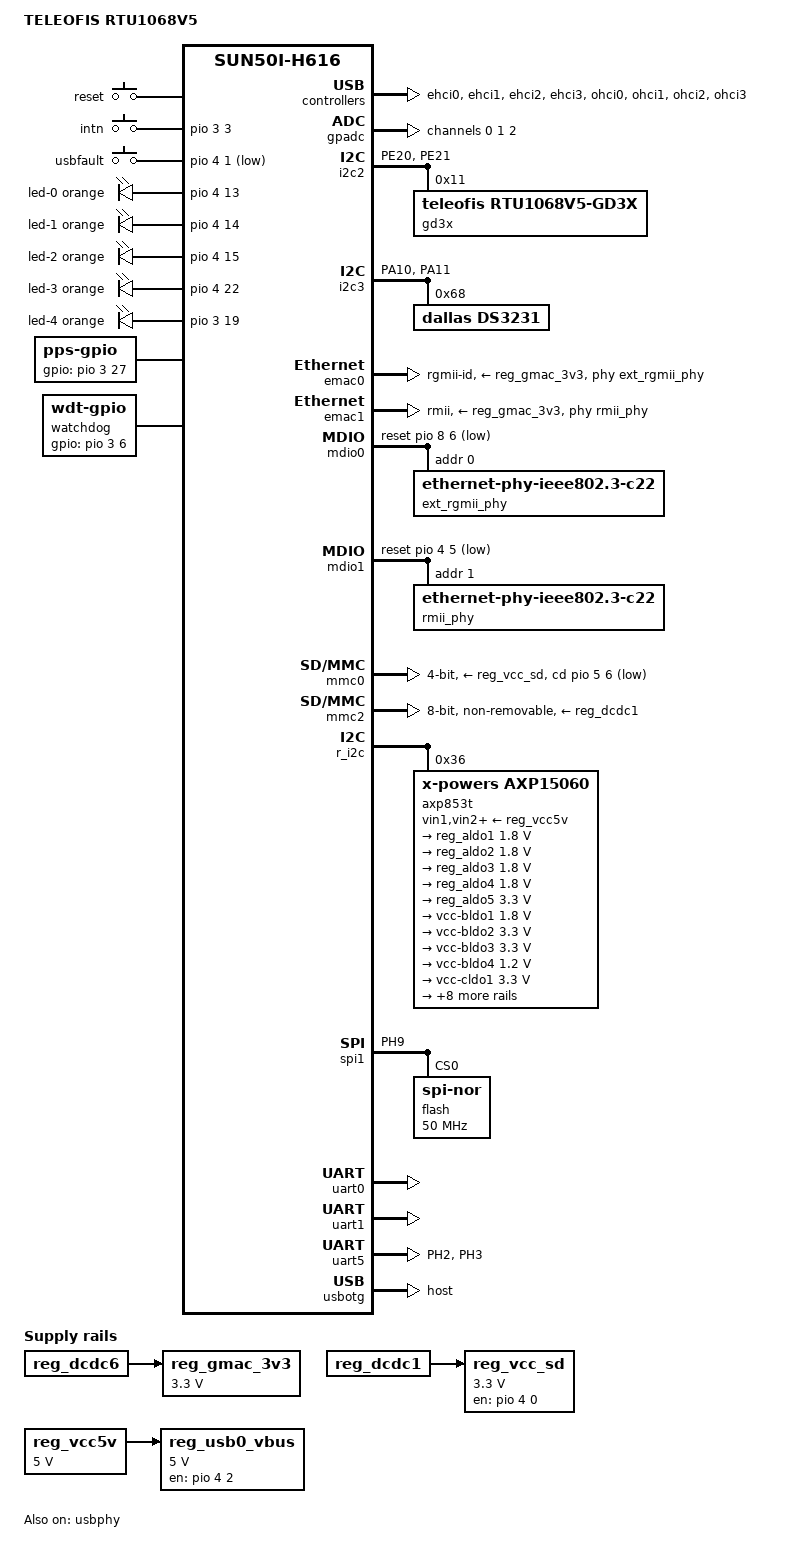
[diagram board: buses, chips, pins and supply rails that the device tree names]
// SPDX-License-Identifier: (GPL-2.0+ or MIT)
/*
 * Copyright (C) 
 */

/dts-v1/;

#include "sun50i-h616.dtsi"
#include "sun50i-h616-cpu-opp.dtsi"

#include <dt-bindings/gpio/gpio.h>
#include <dt-bindings/interrupt-controller/arm-gic.h>
#include <dt-bindings/input/input.h>
#include <dt-bindings/leds/common.h>

/ {
	model = "TELEOFIS RTU1068V5";
	compatible = "teleofis,rtu1068v5", "allwinner,sun50i-t507", "allwinner,sun50i-h616";

	aliases {
		ethernet0 = &emac0;
		ethernet1 = &emac1;
		mmc0 = &mmc0;
		mmc1 = &mmc2;
		rtc0 = &ds3231;
		rtc1 = &rtc;
		serial0 = &uart0;
		serial1 = &uart1;
		serial2 = &uart5;
	};

	chosen {
		stdout-path = "serial1:115200n8";
	};

	keys {
		compatible = "gpio-keys";
		reset {
			label = "reset";
			gpio = <&pio 4 3 GPIO_ACTIVE_HIGH>;	/* PE3 */
			linux,code = <KEY_RESTART>;
		};

		intn {
			label = "intn";
			gpios = <&pio 3 3 GPIO_ACTIVE_HIGH>;	/* PD3 */
			linux,code = <BTN_0>;
		};

		usbfault {
			label = "usbfault";
			gpios = <&pio 4 1 GPIO_ACTIVE_LOW>;	/* PE1 */
			linux,code = <BTN_1>;
		};
	};

	leds {
		compatible = "gpio-leds";

		led-0 {
			function = LED_FUNCTION_WAN;
			color = <LED_COLOR_ID_ORANGE>;
			gpios = <&pio 4 13 GPIO_ACTIVE_HIGH>;	/* PE13, NET */
			default-state = "on";
		};

		led-1 {
			function = LED_FUNCTION_ACTIVITY;
			color = <LED_COLOR_ID_ORANGE>;
			gpios = <&pio 4 14 GPIO_ACTIVE_HIGH>;	/* PE14, ACT */
			default-state = "on";
		};

		led-2 {
			function = "serial";
			color = <LED_COLOR_ID_ORANGE>;
			gpios = <&pio 4 15 GPIO_ACTIVE_HIGH>;	/* PE15, SERIAL */
			default-state = "on";
		};

		led-3 {
			function = LED_FUNCTION_POWER;
			color = <LED_COLOR_ID_ORANGE>;
			gpios = <&pio 4 22 GPIO_ACTIVE_HIGH>;	/* PE22, PWR */
			default-state = "on";
		};

		led-4 {
			function = LED_FUNCTION_WLAN;
			color = <LED_COLOR_ID_ORANGE>;
			gpios = <&pio 3 19 GPIO_ACTIVE_HIGH>;	/* PD19, WLAN_LED */
			default-state = "on";
		};
	};

	pps {
		compatible = "pps-gpio";
		gpios = <&pio 3 27 GPIO_ACTIVE_HIGH>;	/* PD27 */
	};

	reg_vcc5v: vcc5v {
		compatible = "regulator-fixed";
		regulator-name = "vcc-5v";
		regulator-min-microvolt = <5000000>;
		regulator-max-microvolt = <5000000>;
		regulator-always-on;
	};

	reg_gmac_3v3: gmac-3v3 {
		compatible = "regulator-fixed";
		regulator-name = "gmac-3v3";
		regulator-min-microvolt = <3300000>;
		regulator-max-microvolt = <3300000>;
		vin-supply = <&reg_dcdc6>;
		regulator-always-on;
	};

	reg_vcc_sd: vcc-sd {
		compatible = "regulator-fixed";
		regulator-name = "vcc-sd";
		regulator-min-microvolt = <3300000>;
		regulator-max-microvolt = <3300000>;
		vin-supply = <&reg_dcdc1>;
		enable-active-high;
		gpio = <&pio 4 0 GPIO_ACTIVE_HIGH>;	/* PE0 */
	};

	reg_usb0_vbus: usb0-vbus {
		compatible = "regulator-fixed";
		regulator-name = "usb0-vbus";
		regulator-min-microvolt = <5000000>;
		regulator-max-microvolt = <5000000>;
		vin-supply = <&reg_vcc5v>;
		enable-active-high;
		gpio = <&pio 4 2 GPIO_ACTIVE_HIGH>;	/* PE2 */
	};

	watchdog {
		compatible = "linux,wdt-gpio";
		gpios = <&pio 3 6 GPIO_ACTIVE_HIGH>;	/* PD6 */
		hw_algo = "toggle";
		hw_margin_ms = <200>;
		always-running;
	};
};

&cpu0 {
	cpu-supply = <&reg_dcdc2>;
};

&ehci0 {
	status = "okay";
};

&ehci1 {
	status = "okay";
};

&ehci2 {
	status = "okay";
};

&ehci3 {
	status = "okay";
};

&gpadc {
	#address-cells = <1>;
	#size-cells = <0>;
	status = "okay";

	channel@0 {
		reg = <0>;
	};

	channel@1 {
		reg = <1>;
	};

	channel@2 {
		reg = <2>;
	};
};

&i2c2 {
	pinctrl-names = "default";
	pinctrl-0 = <&i2c2_pins>;
	status = "okay";

	gd3x: gpio@11 {
		compatible = "teleofis,rtu1068v5-gd3x", "sz,gd3x";
		reg = <0x11>;
		gpio-controller;
		#gpio-cells = <2>;
	};
};

&i2c3 {
	pinctrl-names = "default";
	pinctrl-0 = <&i2c3_pins>;
	status = "okay";

	ds3231: rtc@68 {
		compatible = "dallas,ds3231";
		reg = <0x68>;
	};
};

&pio {
	vcc-pa-supply = <&reg_dcdc1>;
	vcc-pc-supply = <&reg_aldo1>;
	vcc-pd-supply = <&reg_swout>;
	vcc-pe-supply = <&reg_aldo5>;
	vcc-pf-supply = <&reg_dcdc1>;
	vcc-pg-supply = <&reg_dcdc1>;
	vcc-ph-supply = <&reg_dcdc1>;
	vcc-pi-supply = <&reg_dcdc1>;

	spi1_cs1_pin: spi1-cs1-pin {
		pins = "PH9";
		function = "spi1";
	};

	uart5_pins: uart5-pins {
		pins = "PH2", "PH3";
		function = "uart5";
	};

	i2c2_pins: i2c2-pins {
		pins = "PE20", "PE21";
		function = "i2c2";
	};

	i2c3_pins: i2c3-pins {
		pins = "PA10", "PA11";
		function = "i2c3";
	};
};

&emac0 {
	pinctrl-names = "default";
	pinctrl-0 = <&ext_rgmii_pins>;
	phy-mode = "rgmii-id";
	phy-handle = <&ext_rgmii_phy>;
	phy-supply = <&reg_gmac_3v3>;
	status = "okay";
};

&emac1 {
	pinctrl-names = "default";
	pinctrl-0 = <&rmii_pins>;
	phy-mode = "rmii";
	phy-handle = <&rmii_phy>;
	phy-supply = <&reg_gmac_3v3>;
	status = "okay";
};

&mdio0 {
	reset-gpios = <&pio 8 6 GPIO_ACTIVE_LOW>;
	reset-delay-us = <100000>;
	reset-post-delay-us = <40000>;

	ext_rgmii_phy: ethernet-phy@0 {
		compatible = "ethernet-phy-ieee802.3-c22";
		reg = <0>;
		rx-internal-delay-ps = <1900>;
		motorcomm,auto-sleep-disabled;
		motorcomm,keep-pll-enabled;
	};
};

&mdio1 {
	reset-gpios = <&pio 4 5 GPIO_ACTIVE_LOW>;
	reset-delay-us = <20000>;
	reset-post-delay-us = <30000>;

	rmii_phy: ethernet-phy@1 {
		compatible = "ethernet-phy-ieee802.3-c22";
		reg = <1>;
	};
};

&mmc0 {
	vmmc-supply = <&reg_vcc_sd>;
	cd-gpios = <&pio 5 6 GPIO_ACTIVE_LOW>;	/* PF6 */
	bus-width = <4>;
	status = "okay";
};

&mmc2 {
	vmmc-supply = <&reg_dcdc1>;
	vqmmc-supply = <&reg_aldo1>;
	broken-cd;
	bus-width = <8>;
	non-removable;
	cap-mmc-highspeed;
	max-frequency = <50000000>;
	mmc-ddr-1_8v;
	mmc-hs200-1_8v;
	status = "okay";
};

&ohci0 {
	status = "okay";
};

&ohci1 {
	status = "okay";
};

&ohci2 {
	status = "okay";
};

&ohci3 {
	status = "okay";
};

&r_i2c {
	status = "okay";

	axp853t: pmic@36 {
		compatible = "x-powers,axp15060";
		reg = <0x36>;

		interrupts = <GIC_SPI 103 IRQ_TYPE_LEVEL_HIGH>;
		interrupt-controller;
		#interrupt-cells = <1>;

		x-powers,self-working-mode;
		vin1-supply = <&reg_vcc5v>;
		vin2-supply = <&reg_vcc5v>;
		vin3-supply = <&reg_vcc5v>;
		vin4-supply = <&reg_vcc5v>;
		vin5-supply = <&reg_vcc5v>;
		vin6-supply = <&reg_vcc5v>;
		aldoin-supply = <&reg_vcc5v>;
		bldoin-supply = <&reg_vcc5v>;
		cldoin-supply = <&reg_vcc5v>;

		regulators {
			reg_aldo1: aldo1 {
				regulator-always-on;
				regulator-min-microvolt = <1800000>;
				regulator-max-microvolt = <1800000>;
				regulator-name = "vcc-aldo1";
			};

			reg_aldo2: aldo2 {
				regulator-always-on;
				regulator-min-microvolt = <1800000>;
				regulator-max-microvolt = <1800000>;
				regulator-name = "vcc-aldo2";
			};

			reg_aldo3: aldo3 {
				regulator-always-on;
				regulator-min-microvolt = <1800000>;
				regulator-max-microvolt = <1800000>;
				regulator-name = "vcc-aldo3";
			};

			reg_aldo4: aldo4 {
				regulator-always-on;
				regulator-min-microvolt = <1800000>;
				regulator-max-microvolt = <1800000>;
				regulator-name = "vcc-aldo4";
			};

			reg_aldo5: aldo5 {
				regulator-always-on;
				regulator-min-microvolt = <3300000>;
				regulator-max-microvolt = <3300000>;
				regulator-name = "vcc-aldo5";
			};

			bldo1 {
				regulator-always-on;
				regulator-min-microvolt = <1800000>;
				regulator-max-microvolt = <1800000>;
				regulator-name = "vcc-bldo1";
			};

			bldo2 {
				regulator-always-on;
				regulator-min-microvolt = <3300000>;
				regulator-max-microvolt = <3300000>;
				regulator-name = "vcc-bldo2";
			};

			bldo3 {
				regulator-always-on;
				regulator-min-microvolt = <3300000>;
				regulator-max-microvolt = <3300000>;
				regulator-name = "vcc-bldo3";
			};

			bldo4 {
				regulator-always-on;
				regulator-min-microvolt = <1200000>;
				regulator-max-microvolt = <1200000>;
				regulator-name = "vcc-bldo4";
			};

			cldo1 {
				regulator-always-on;
				regulator-min-microvolt = <3300000>;
				regulator-max-microvolt = <3300000>;
				regulator-name = "vcc-cldo1";
			};

			cldo2 {
				/* unused */
			};

			cldo3 {
				/* unused */
			};

			cldo4 {
				regulator-always-on;
				regulator-min-microvolt = <1800000>;
				regulator-max-microvolt = <1800000>;
				regulator-name = "vcc-cldo4";
			};

			reg_dcdc1: dcdc1 {
				regulator-always-on;
				regulator-min-microvolt = <3300000>;
				regulator-max-microvolt = <3300000>;
				regulator-name = "vdd-dcdc1";
			};

			reg_dcdc2: dcdc2 {
				regulator-always-on;
				regulator-min-microvolt = <810000>;
				regulator-max-microvolt = <1100000>;
				regulator-name = "vdd-cpu";
			};

			reg_dcdc3: dcdc3 {
				regulator-always-on;
				regulator-min-microvolt = <900000>;
				regulator-max-microvolt = <900000>;
				regulator-name = "vdd-dcdc3";
			};

			reg_dcdc4: dcdc4 {
				regulator-always-on;
				regulator-min-microvolt = <810000>;
				regulator-max-microvolt = <990000>;
				regulator-name = "vdd-gpu";
			};

			reg_dcdc5: dcdc5 {
				regulator-always-on;
				regulator-min-microvolt = <1100000>;
				regulator-max-microvolt = <1100000>;
				regulator-name = "vdd-dram";
			};

			reg_dcdc6: dcdc6 {
				regulator-always-on;
				regulator-min-microvolt = <3300000>;
				regulator-max-microvolt = <3300000>;
				regulator-name = "vdd-dcdc6";
			};

			/* switched output of DCDC1, powers the PD bank */
			reg_swout: sw {
				regulator-always-on;
				regulator-name = "vcc-swout";
			};
		};
	};
};

&spi1 {
	pinctrl-names = "default";
	pinctrl-0 = <&spi1_pins>, <&spi1_cs0_pin>, <&spi1_cs1_pin>;
	status = "okay";

	flash@0 {
		compatible = "jedec,spi-nor";
		reg = <0>;
		spi-max-frequency = <50000000>;
		spi-tx-bus-width = <1>;
		spi-rx-bus-width = <1>;
	};
};

&uart0 {
	pinctrl-names = "default";
	pinctrl-0 = <&uart0_ph_pins>;
	status = "okay";
};

&uart1 {
	pinctrl-names = "default";
	pinctrl-0 = <&uart1_pins>, <&uart1_rts_cts_pins>;
	uart-has-rtscts;
	status = "okay";
};

&uart5 {
	pinctrl-names = "default";
	pinctrl-0 = <&uart5_pins>;
	status = "okay";
};

&usbotg {
	dr_mode = "host";	/* USB A type receptacle */
	status = "okay";
};

&usbphy {
	usb0_vbus-supply = <&reg_usb0_vbus>;
	usb1_vbus-supply = <&reg_vcc5v>;
	usb2_vbus-supply = <&reg_vcc5v>;
	usb3_vbus-supply = <&reg_vcc5v>;
	status = "okay";
};
